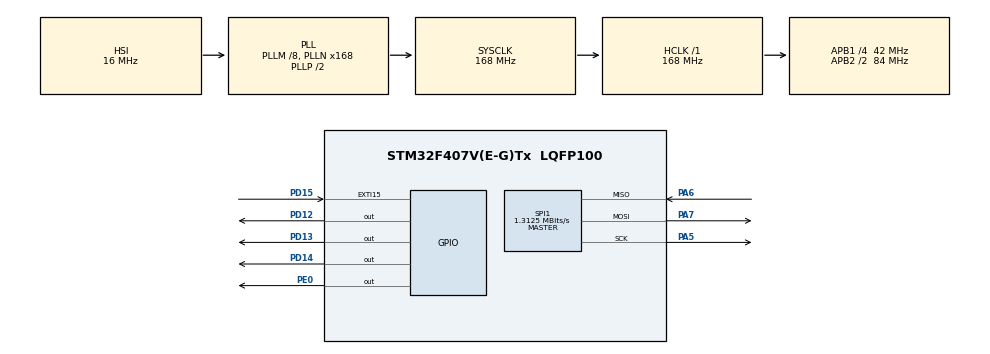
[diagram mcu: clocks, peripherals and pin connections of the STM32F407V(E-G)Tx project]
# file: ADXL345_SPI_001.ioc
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Mcu.Family=STM32F4
Mcu.Name=STM32F407V(E-G)Tx
Mcu.Package=LQFP100
NVIC.PriorityGroup=NVIC_PRIORITYGROUP_4
PA13.Mode=Serial_Wire
PA13.Signal=SYS_JTMS-SWDIO
PA14.Mode=Serial_Wire
PA14.Signal=SYS_JTCK-SWCLK
PA5.Mode=Full_Duplex_Master
PA5.Signal=SPI1_SCK
PA6.Mode=Full_Duplex_Master
PA6.Signal=SPI1_MISO
PA7.Mode=Full_Duplex_Master
PA7.Signal=SPI1_MOSI
PD12.Signal=GPIO_Output
PD13.Signal=GPIO_Output
PD14.Signal=GPIO_Output
PD15.Signal=GPXTI15
PE0.Signal=GPIO_Output
ProjectManager.HeapSize=0x200
ProjectManager.StackSize=0x400
ProjectManager.TargetToolchain=STM32CubeIDE
RCC.48MHZClocksFreq_Value=84000000
RCC.AHBFreq_Value=168000000
RCC.APB1CLKDivider=RCC_HCLK_DIV4
RCC.APB1Freq_Value=42000000
RCC.APB1TimFreq_Value=84000000
RCC.APB2CLKDivider=RCC_HCLK_DIV2
RCC.APB2Freq_Value=84000000
RCC.APB2TimFreq_Value=168000000
RCC.CortexFreq_Value=168000000
RCC.HCLKFreq_Value=168000000
RCC.HSE_VALUE=25000000
RCC.HSI_VALUE=16000000
RCC.LSE_VALUE=32768
RCC.PLLM=8
RCC.PLLN=168
RCC.SYSCLKFreq_VALUE=168000000
RCC.SYSCLKSource=RCC_SYSCLKSOURCE_PLLCLK
RCC.VCOOutputFreq_Value=336000000
SPI1.BaudRatePrescaler=SPI_BAUDRATEPRESCALER_64
SPI1.CLKPhase=SPI_PHASE_2EDGE
SPI1.CLKPolarity=SPI_POLARITY_HIGH
SPI1.CalculateBaudRate=1.3125 MBits/s
SPI1.Direction=SPI_DIRECTION_2LINES
SPI1.Mode=SPI_MODE_MASTER
SPI1.VirtualType=VM_MASTER
board=custom

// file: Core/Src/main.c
/* USER CODE BEGIN Header */
/**
  ******************************************************************************
  * @file           : main.c
  * @brief          : Main program body
  ******************************************************************************
  * @attention
  *
  * Copyright (c) 2023 STMicroelectronics.
  * All rights reserved.
  *
  * This software is licensed under terms that can be found in the LICENSE file
  * in the root directory of this software component.
  * If no LICENSE file comes with this software, it is provided AS-IS.
  *
  ******************************************************************************
  */
/* USER CODE END Header */
#include "main.h"

/* USER CODE BEGIN Includes */

void ADXL345_SPI_Init();
void ADXL345_SPI_Tx(uint8_t address1,uint8_t data1);
uint8_t ADXL345_SPI_Rx(uint8_t address2);

uint8_t devid_val;

#define DEVID 		   0x00
#define THRESH_TAP     0x1D
#define DUR 		   0x21
#define LATENT 		   0x22
#define WINDOW 		   0x23
#define THRESH_ACT     0x24
#define THRESH_INACT   0x25
#define TIME_INACT     0x26
#define ACT_INACT_CTL  0x27
#define THRESH_FF      0x28
#define TIME_FF        0x29
#define TAP_AXES       0x2A
#define ACT_TAP_STATUS 0x2B
#define BW_RATE        0x2C
#define POWER_CTL      0x2D
#define INT_ENABLE     0x2E
#define INT_MAP        0x2F
#define INT_SOURCE     0x30
#define DATA_FORMAT    0x31
#define DATAX0         0x32
#define DATAX1 		   0x33
#define DATAY0 		   0x34
#define DATAY1         0x35
#define DATAZ0 		   0x36
#define DATAZ1         0x37
#define FIFO_CTL 	   0x38
#define FIFO_STATUS    0x39

uint8_t gyro_datas[6];
uint8_t x,y,z;

/* USER CODE END Includes */

SPI_HandleTypeDef hspi1;

void SystemClock_Config(void);
static void MX_GPIO_Init(void);
static void MX_SPI1_Init(void);

/* USER CODE BEGIN 0 */

void ADXL345_SPI_Init()
{
	ADXL345_SPI_Tx(DATA_FORMAT,0x01);

	ADXL345_SPI_Tx(POWER_CTL,0x08);

}

void ADXL345_SPI_Tx(uint8_t address1,uint8_t data1)
{
	address1 = address1 | 0x40;

	uint8_t data_tx[2];
	data_tx[0] = address1;
	data_tx[1] = data1;

	HAL_GPIO_WritePin(GPIOE,GPIO_PIN_0,0);

	HAL_SPI_Transmit(&hspi1, data_tx,2,100);

	HAL_GPIO_WritePin(GPIOE,GPIO_PIN_0,1);
}

uint8_t ADXL345_SPI_Rx(uint8_t address2)
{
	uint8_t rx = 0;

	address2 = address2 | 0xC0;
	HAL_GPIO_WritePin(GPIOE,GPIO_PIN_0,0);

	HAL_SPI_Transmit(&hspi1, &address2, 1, 100);
	HAL_SPI_Receive(&hspi1, &rx, 1,100);

	HAL_GPIO_WritePin(GPIOE,GPIO_PIN_0,1);
	return rx;
}

/* USER CODE END 0 */

int main(void)
{

  /* MCU Configuration--------------------------------------------------------*/

  /* Reset of all peripherals, Initializes the Flash interface and the Systick. */
  HAL_Init();

  /* Configure the system clock */
  SystemClock_Config();

  /* Initialize all configured peripherals */
  MX_GPIO_Init();
  MX_SPI1_Init();
  /* USER CODE BEGIN 2 */

  ADXL345_SPI_Init();

  /* USER CODE END 2 */

  /* Infinite loop */
  while (1)
  {

    /* USER CODE BEGIN 3 */

	  gyro_datas[0] = ADXL345_SPI_Rx(DATAX0);
	  gyro_datas[1] = ADXL345_SPI_Rx(DATAX1);
	  gyro_datas[2] = ADXL345_SPI_Rx(DATAY0);
	  gyro_datas[3] = ADXL345_SPI_Rx(DATAY1);
	  gyro_datas[4] = ADXL345_SPI_Rx(DATAZ0);
	  gyro_datas[5] = ADXL345_SPI_Rx(DATAZ1);

	  x = (gyro_datas[1] << 8) | gyro_datas[0];
	  y = (gyro_datas[3] << 8) | gyro_datas[2];
	  z = (gyro_datas[5] << 8) | gyro_datas[4];

	  HAL_Delay(10);
  }
  /* USER CODE END 3 */
}

void SystemClock_Config(void)
{
  RCC_OscInitTypeDef RCC_OscInitStruct = {0};
  RCC_ClkInitTypeDef RCC_ClkInitStruct = {0};

  /** Configure the main internal regulator output voltage
  */
  __HAL_RCC_PWR_CLK_ENABLE();
  __HAL_PWR_VOLTAGESCALING_CONFIG(PWR_REGULATOR_VOLTAGE_SCALE1);

  /** Initializes the RCC Oscillators according to the specified parameters
  * in the RCC_OscInitTypeDef structure.
  */
  RCC_OscInitStruct.OscillatorType = RCC_OSCILLATORTYPE_HSI;
  RCC_OscInitStruct.HSIState = RCC_HSI_ON;
  RCC_OscInitStruct.HSICalibrationValue = RCC_HSICALIBRATION_DEFAULT;
  RCC_OscInitStruct.PLL.PLLState = RCC_PLL_ON;
  RCC_OscInitStruct.PLL.PLLSource = RCC_PLLSOURCE_HSI;
  RCC_OscInitStruct.PLL.PLLM = 8;
  RCC_OscInitStruct.PLL.PLLN = 168;
  RCC_OscInitStruct.PLL.PLLP = RCC_PLLP_DIV2;
  RCC_OscInitStruct.PLL.PLLQ = 4;
  if (HAL_RCC_OscConfig(&RCC_OscInitStruct) != HAL_OK)
  {
    Error_Handler();
  }

  /** Initializes the CPU, AHB and APB buses clocks
  */
  RCC_ClkInitStruct.ClockType = RCC_CLOCKTYPE_HCLK|RCC_CLOCKTYPE_SYSCLK
                              |RCC_CLOCKTYPE_PCLK1|RCC_CLOCKTYPE_PCLK2;
  RCC_ClkInitStruct.SYSCLKSource = RCC_SYSCLKSOURCE_PLLCLK;
  RCC_ClkInitStruct.AHBCLKDivider = RCC_SYSCLK_DIV1;
  RCC_ClkInitStruct.APB1CLKDivider = RCC_HCLK_DIV4;
  RCC_ClkInitStruct.APB2CLKDivider = RCC_HCLK_DIV2;

  if (HAL_RCC_ClockConfig(&RCC_ClkInitStruct, FLASH_LATENCY_5) != HAL_OK)
  {
    Error_Handler();
  }
}

static void MX_SPI1_Init(void)
{

  /* SPI1 parameter configuration*/
  hspi1.Instance = SPI1;
  hspi1.Init.Mode = SPI_MODE_MASTER;
  hspi1.Init.Direction = SPI_DIRECTION_2LINES;
  hspi1.Init.DataSize = SPI_DATASIZE_8BIT;
  hspi1.Init.CLKPolarity = SPI_POLARITY_HIGH;
  hspi1.Init.CLKPhase = SPI_PHASE_2EDGE;
  hspi1.Init.NSS = SPI_NSS_SOFT;
  hspi1.Init.BaudRatePrescaler = SPI_BAUDRATEPRESCALER_64;
  hspi1.Init.FirstBit = SPI_FIRSTBIT_MSB;
  hspi1.Init.TIMode = SPI_TIMODE_DISABLE;
  hspi1.Init.CRCCalculation = SPI_CRCCALCULATION_DISABLE;
  hspi1.Init.CRCPolynomial = 10;
  if (HAL_SPI_Init(&hspi1) != HAL_OK)
  {
    Error_Handler();
  }

}

static void MX_GPIO_Init(void)
{
  GPIO_InitTypeDef GPIO_InitStruct = {0};

  /* GPIO Ports Clock Enable */
  __HAL_RCC_GPIOA_CLK_ENABLE();
  __HAL_RCC_GPIOD_CLK_ENABLE();
  __HAL_RCC_GPIOE_CLK_ENABLE();

  /*Configure GPIO pin Output Level */
  HAL_GPIO_WritePin(GPIOD, GPIO_PIN_12|GPIO_PIN_13|GPIO_PIN_14, GPIO_PIN_RESET);

  /*Configure GPIO pin Output Level */
  HAL_GPIO_WritePin(GPIOE, GPIO_PIN_0, GPIO_PIN_RESET);

  /*Configure GPIO pins : PD12 PD13 PD14 */
  GPIO_InitStruct.Pin = GPIO_PIN_12|GPIO_PIN_13|GPIO_PIN_14;
  GPIO_InitStruct.Mode = GPIO_MODE_OUTPUT_PP;
  GPIO_InitStruct.Pull = GPIO_NOPULL;
  GPIO_InitStruct.Speed = GPIO_SPEED_FREQ_LOW;
  HAL_GPIO_Init(GPIOD, &GPIO_InitStruct);

  /*Configure GPIO pin : PD15 */
  GPIO_InitStruct.Pin = GPIO_PIN_15;
  GPIO_InitStruct.Mode = GPIO_MODE_IT_RISING;
  GPIO_InitStruct.Pull = GPIO_NOPULL;
  HAL_GPIO_Init(GPIOD, &GPIO_InitStruct);

  /*Configure GPIO pin : PE0 */
  GPIO_InitStruct.Pin = GPIO_PIN_0;
  GPIO_InitStruct.Mode = GPIO_MODE_OUTPUT_PP;
  GPIO_InitStruct.Pull = GPIO_NOPULL;
  GPIO_InitStruct.Speed = GPIO_SPEED_FREQ_LOW;
  HAL_GPIO_Init(GPIOE, &GPIO_InitStruct);

}

void Error_Handler(void)
{
  __disable_irq();
  while (1)
  {
  }
}
